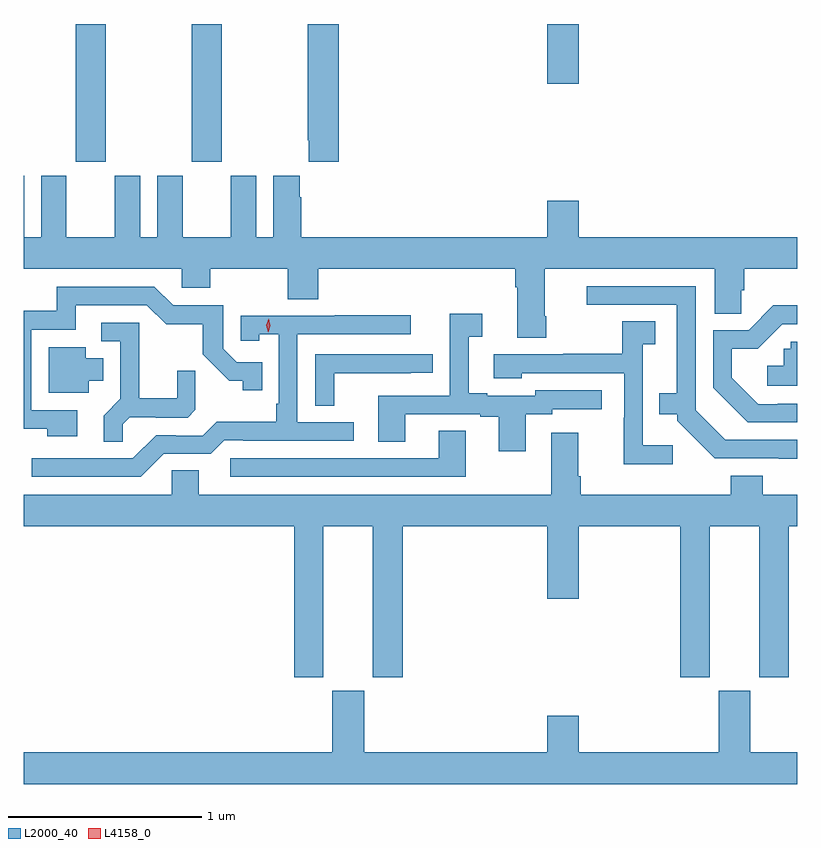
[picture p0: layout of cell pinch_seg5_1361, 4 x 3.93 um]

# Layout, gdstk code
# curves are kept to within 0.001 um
import gdstk
lib = gdstk.Library(unit=1e-6, precision=1e-09)
def R(c, l, rs):  # rectangles x0, y0, x1, y1
    for r in rs: c.add(gdstk.rectangle(r[:2], r[2:], *l))
def P(c, l, *ps):  # polygons
    for p in ps: c.add(gdstk.Polygon(p, *l))
L2000_40 = (2000, 40)
L4158_0 = (4158, 0)

pinch_seg5_1361 = lib.new_cell('pinch_seg5_1361')
R(pinch_seg5_1361, L2000_40, [(198.535,897.273,198.69,897.986), (199.135,897.273,199.29,897.986), (200.972,897.678,201.136,897.986)])
P(pinch_seg5_1361, L2000_40, [(199.895,897.986),(199.735,897.986),(199.735,897.385),(199.739,897.385),(199.739,897.273),(199.895,897.273)],
  [(198.356,897.202),(198.356,896.884),(198.268,896.884),(198.268,897.202),(198.266,897.202),(198.266,896.72),(199.083,896.72),(199.083,896.622),(199.23,896.622),(199.23,896.72),(199.63,896.72),(199.63,896.563),(199.79,896.563),(199.79,896.72),(200.807,896.72),(200.807,896.624),(200.819,896.624),(200.819,896.364),(200.967,896.364),(200.967,896.476),(200.959,896.476),(200.959,896.72),(201.839,896.72),(201.839,896.488),(201.977,896.488),(201.977,896.61),(201.992,896.61),(201.992,896.72),(202.266,896.72),(202.266,896.884),(201.136,896.884),(201.136,897.073),(200.972,897.073),(200.972,896.884),(199.7,896.884),(199.7,897.089),(199.693,897.089),(199.693,897.202),(199.556,897.202),(199.556,896.884),(199.468,896.884),(199.468,897.202),(199.337,897.202),(199.337,896.884),(199.087,896.884),(199.087,897.202),(198.956,897.202),(198.956,896.884),(198.868,896.884),(198.868,897.202),(198.737,897.202),(198.737,896.884),(198.487,896.884),(198.487,897.202)],
  [(202.266,895.836),(201.894,895.836),(201.741,895.989),(201.741,896.631),(201.177,896.631),(201.177,896.535),(201.644,896.535),(201.644,896.077),(201.553,896.077),(201.553,895.967),(201.645,895.967),(201.645,895.935),(201.84,895.74),(202.266,895.739)],
  [(198.544,895.989),(198.306,895.989),(198.306,896.406),(198.535,896.406),(198.535,896.532),(198.903,896.532),(199.002,896.434),(199.191,896.434),(199.191,896.278),(199.328,896.141),(199.398,896.141),(199.398,896.091),(199.499,896.091),(199.499,896.238),(199.368,896.238),(199.299,896.307),(199.299,896.532),(199.038,896.532),(198.942,896.628),(198.437,896.628),(198.437,896.502),(198.266,896.502),(198.266,895.893),(198.388,895.893),(198.388,895.853),(198.544,895.853)],
  [(202.266,896.022),(202.165,896.022),(202.165,896.019),(202.065,896.019),(201.928,896.156),(201.928,896.306),(202.061,896.306),(202.188,896.433),(202.266,896.433),(202.266,896.531),(202.142,896.531),(202.014,896.403),(201.831,896.403),(201.831,896.105),(202.01,895.926),(202.266,895.926)],
  [(200.863,895.968),(201,895.968),(201,895.995),(201.256,895.995),(201.256,896.091),(200.91,896.091),(200.91,896.064),(200.662,896.064),(200.662,896.077),(200.566,896.077),(200.566,896.368),(200.638,896.368),(200.638,896.488),(200.469,896.488),(200.469,896.064),(200.099,896.064),(200.099,895.825),(200.239,895.825),(200.239,895.968),(200.627,895.968),(200.627,895.956),(200.723,895.956),(200.723,895.776),(200.863,895.776)],
  [(198.99,895.764),(199.233,895.764),(199.302,895.833),(199.402,895.833),(199.402,895.83),(199.972,895.83),(199.972,895.926),(199.68,895.926),(199.68,896.382),(200.266,896.382),(200.266,896.481),(199.873,896.481),(199.873,896.478),(199.389,896.478),(199.389,896.349),(199.485,896.349),(199.485,896.381),(199.584,896.381),(199.584,896.023),(199.572,896.023),(199.572,895.93),(199.264,895.93),(199.191,895.857),(199.052,895.857),(199.052,895.86),(198.951,895.86),(198.831,895.74),(198.308,895.74),(198.308,895.644),(198.87,895.644)],
  [(201.622,895.807),(201.468,895.807),(201.468,896.329),(201.532,896.329),(201.532,896.45),(201.36,896.45),(201.36,896.28),(201.055,896.28),(201.055,896.277),(200.697,896.277),(200.697,896.153),(200.841,896.153),(200.841,896.181),(201.372,896.181),(201.372,895.949),(201.37,895.949),(201.37,895.709),(201.622,895.709)],
  [(198.777,895.916),(198.814,895.953),(198.948,895.953),(198.948,895.95),(199.113,895.95),(199.154,895.991),(199.154,896.193),(199.06,896.193),(199.06,896.05),(198.863,896.05),(198.863,896.442),(198.666,896.442),(198.666,896.346),(198.765,896.346),(198.765,896.047),(198.679,895.961),(198.679,895.825),(198.777,895.825)],
  [(202.266,896.343),(202.233,896.343),(202.233,896.307),(202.197,896.307),(202.197,896.218),(202.11,896.218),(202.11,896.115),(202.266,896.115)],
  [(198.601,896.141),(198.676,896.141),(198.676,896.257),(198.586,896.257),(198.586,896.314),(198.395,896.314),(198.395,896.078),(198.601,896.078)],
  [(199.872,896.181),(200.267,896.181),(200.267,896.182),(200.38,896.182),(200.38,896.277),(199.773,896.277),(199.773,896.011),(199.872,896.011)],
  [(200.551,895.883),(200.411,895.883),(200.411,895.74),(199.335,895.74),(199.335,895.644),(200.551,895.644)],
  [(199.816,895.388),(200.072,895.388),(200.072,894.609),(200.225,894.609),(200.225,895.388),(200.972,895.388),(200.972,895.014),(201.136,895.014),(201.136,895.388),(201.662,895.388),(201.662,894.609),(201.814,894.609),(201.814,895.388),(202.07,895.388),(202.07,894.609),(202.223,894.609),(202.223,895.388),(202.266,895.388),(202.266,895.552),(202.088,895.552),(202.088,895.651),(201.923,895.651),(201.923,895.552),(201.146,895.552),(201.146,895.648),(201.133,895.648),(201.133,895.873),(200.993,895.873),(200.993,895.552),(199.171,895.552),(199.171,895.679),(199.032,895.679),(199.032,895.552),(198.266,895.552),(198.266,895.388),(199.664,895.388),(199.664,894.609),(199.816,894.609)],
  [(202.266,894.22),(202.024,894.22),(202.024,894.537),(201.86,894.537),(201.86,894.22),(201.136,894.22),(201.136,894.409),(200.972,894.409),(200.972,894.22),(200.026,894.22),(200.026,894.537),(199.862,894.537),(199.862,894.22),(198.266,894.22),(198.266,894.056),(202.266,894.056)])
P(pinch_seg5_1361, L4158_0, [(199.53,896.391),(199.53,896.391),(199.521,896.427),(199.533,896.462),(199.533,896.462),(199.533,896.462),(199.542,896.426),(199.53,896.391)])

lib.write_gds('pinch_seg5_1361.gds')
